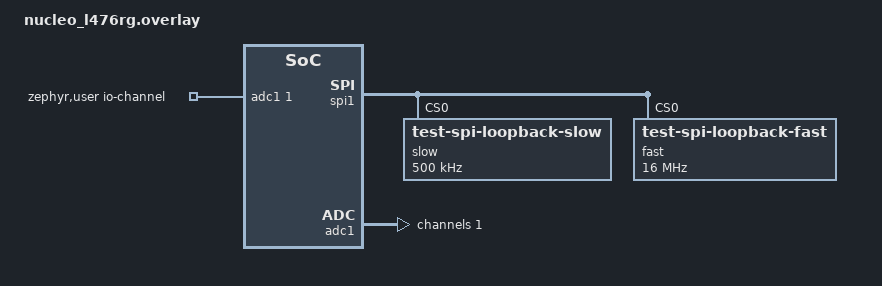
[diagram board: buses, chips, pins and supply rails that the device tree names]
/*
 * Copyright (c) 2020 STMicroelectronics
 *
 * SPDX-License-Identifier: Apache-2.0
 */

tst_dma0: &dma1 {
	status = "okay";
};

&dma2 {
	status = "okay";
};

&spi1 {
	dmas = <&dma1 3 1 (STM32_DMA_PERIPH_TX | STM32_DMA_PRIORITY_HIGH)>,
	       <&dma1 2 1 (STM32_DMA_PERIPH_RX | STM32_DMA_PRIORITY_HIGH)>;
	dma-names = "tx", "rx";
	slow@0 {
		compatible = "test-spi-loopback-slow";
		reg = <0>;
		spi-max-frequency = <500000>;
	};
	fast@0 {
		compatible = "test-spi-loopback-fast";
		reg = <0>;
		spi-max-frequency = <16000000>;
	};
};

&dma1 {
	status = "okay";
};

/ {
	zephyr,user {
		io-channels = <&adc1 1>;
	};
};

&adc1 {
	dmas = <&dma1 1 0 (STM32_DMA_PERIPH_RX | STM32_DMA_MEM_16BITS | STM32_DMA_PERIPH_16BITS)>;
	dma-names = "dma";
	#address-cells = <1>;
	#size-cells = <0>;
	channel@1 {
		reg = <1>;
		zephyr,gain = "ADC_GAIN_1";
		zephyr,reference = "ADC_REF_INTERNAL";
		zephyr,acquisition-time = <ADC_ACQ_TIME_DEFAULT>;
		zephyr,resolution = <10>;
	};
};
